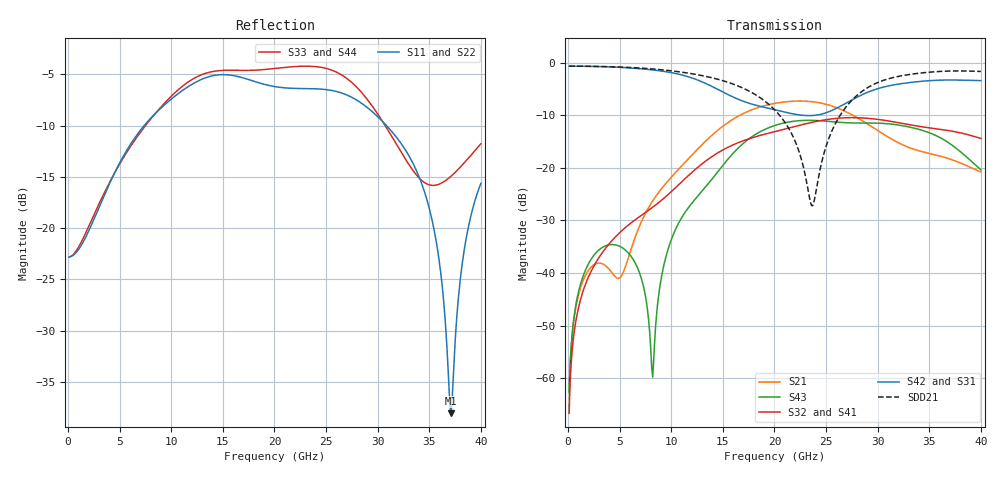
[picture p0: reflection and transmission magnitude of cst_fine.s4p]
! E_s8_L1L3_p1000_round_g2: pair L1→L3, pitch 1 mm, two round antipads, 2 GND vias
! stackup: 8-layer 1.6 mm FR-4 (generic)
! ports: 1 P near, 2 N near, 3 P far, 4 N far
! CST Studio Suite 2025.5 Release from 2025-05-30, time domain (FIT, hexahedral, PBA), 404096 mesh cells, 95 s
! mesh: {'lpw': 30.0, 'lpb': 30.0, 'minstep': 0.0, 'ratio': 20}; ports: port 1 (face); port 2 (face); port 3 (face); port 4 (face)
! interpolated from CST's 1001 samples to the case grid
# Hz S RI R 50
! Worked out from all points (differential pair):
!   400 points, 100 MHz to 40 GHz, reference 50 ohm
!   strongest paths, dB at 100 MHz, 10.1 GHz, 20.1 GHz, 30.1 GHz, 40 GHz:
!     S42: -0.7, -1.9, -9.0, -4.9, -3.4
!     S31: -0.7, -1.9, -9.0, -4.9, -3.4
!     S32: -66.7, -24.3, -13.1, -10.8, -14.4
!     S41: -66.7, -24.3, -13.1, -10.8, -14.4
!     S43: -62.6, -33.1, -11.9, -11.5, -20.4
!     S21: -62.8, -21.6, -7.7, -13.0, -20.8
!   taken as a pair (ports 2,1 in; 4,3 out), SDD21 dB: -0.7, -1.6, -9.1, -3.7, -1.7
!   lowest |S11| = -38.1 dB at 37.1 GHz (marker M1), VSWR 1.03, Z = 50.3 + j1.22 ohm
!   |S11| at or under -10 dB: start of sweep to 7.371 GHz; 30.86 GHz to end of sweep
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1e8  -0.0723 -0.000974  0.000372 0.000625  0.9271 -0.0344  0.000286 -0.000506
     0.000372 0.000625  -0.0723 -0.000974  0.000286 -0.000506  0.9271 -0.0344
     0.9268 -0.0344  1.44e-07 -0.000464  -0.0723 -0.000992  0.000347 0.000655
     1.39e-07 -0.000464  0.9268 -0.0344  0.000347 0.000655  -0.0723 -0.000992
4e9  -0.1627 0.0236  0.0107 0.00131  0.0766 -0.9099  -0.0187 0.0023
     0.0107 0.00131  -0.1627 0.0236  -0.0187 0.0023  0.0766 -0.9099
     0.0763 -0.91  -0.0189 0.00218  -0.1592 0.0486  0.0184 0.00257
     -0.0189 0.00218  0.0763 -0.91  0.0184 0.00257  -0.1592 0.0486
8.2e9  -0.0114 0.3517  0.0476 0.00952  -0.8513 -0.0598  0.0155 0.0396
       0.0476 0.00952  -0.0114 0.3517  0.0155 0.0396  -0.8513 -0.0598
       -0.8516 -0.06  0.0152 0.0394  0.00424 0.35  0.000994 0.000242
       0.0152 0.0394  -0.8516 -0.06  0.000994 0.000242  0.00424 0.35
1.74e10  -0.2765 -0.4547  -0.2024 0.2778  0.4162 -0.00154  -0.1077 0.1529
         -0.2024 0.2778  -0.2765 -0.4547  -0.1077 0.1529  0.4162 -0.00154
         0.4158 -0.0014  -0.1081 0.153  -0.4075 -0.4238  -0.0246 0.1833
         -0.1081 0.153  0.4158 -0.0014  -0.0246 0.1833  -0.4075 -0.4238
3.02e10  0.2439 -0.2398  -0.0958 0.1983  -0.5576 0.132  0.0869 0.2741
         -0.0958 0.1983  0.2439 -0.2398  0.0869 0.2741  -0.5576 0.132
         -0.5585 0.1323  0.0861 0.2744  0.1848 -0.2949  0.117 0.2387
         0.0861 0.2744  -0.5585 0.1323  0.117 0.2387  0.1848 -0.2949
3.71e10  0.00293 0.0122  0.0815 -0.0886  0.6453 0.229  -0.061 -0.2147
         0.0815 -0.0886  0.00293 0.0122  -0.061 -0.2147  0.6453 0.229
         0.6463 0.2274  -0.0602 -0.2162  -0.1722 -0.0494  -0.0556 -0.1578
         -0.0602 -0.2162  0.6463 0.2274  -0.0556 -0.1578  -0.1722 -0.0494
4e10  0.0485 -0.1582  -0.0499 -0.0766  0.5138 -0.4398  -0.1916 -0.0104
      -0.0499 -0.0766  0.0485 -0.1582  -0.1916 -0.0104  0.5138 -0.4398
      0.5151 -0.4377  -0.1902 -0.00851  -0.2134 0.145  -0.096 0.000135
      -0.1902 -0.00851  0.5151 -0.4377  -0.096 0.000135  -0.2134 0.145
